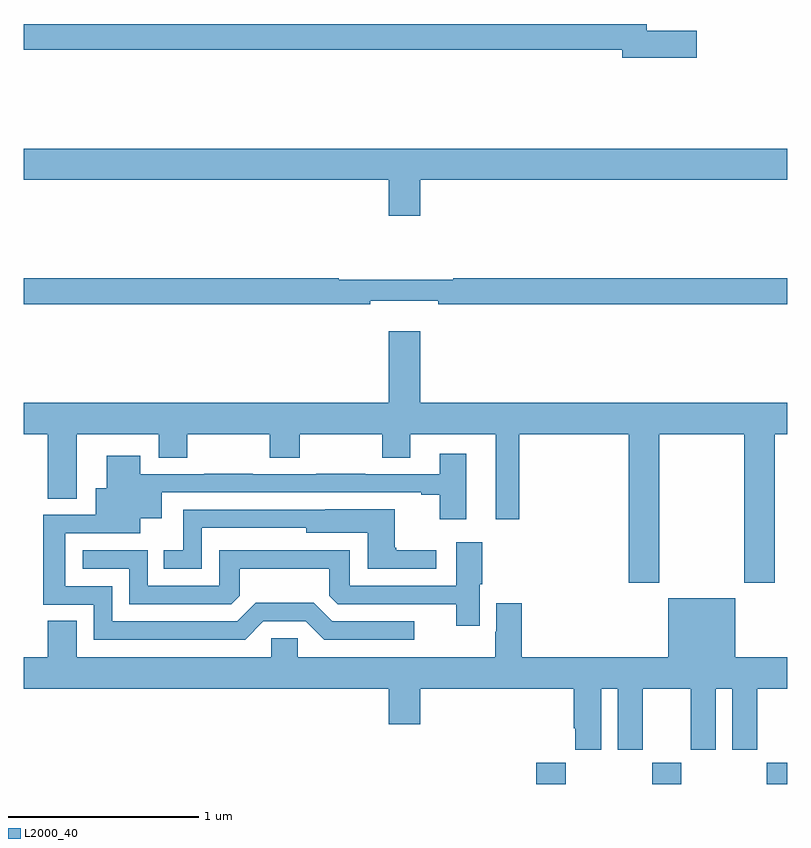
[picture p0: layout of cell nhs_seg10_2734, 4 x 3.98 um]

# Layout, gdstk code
import gdstk
lib = gdstk.Library(unit=1e-6, precision=1e-09)
def R(c, l, rs):  # rectangles x0, y0, x1, y1
    for r in rs: c.add(gdstk.rectangle(r[:2], r[2:], *l))
def P(c, l, *ps):  # polygons
    for p in ps: c.add(gdstk.Polygon(p, *l))
L2000_40 = (2000, 40)

nhs_seg10_2734 = lib.new_cell('nhs_seg10_2734')
R(nhs_seg10_2734, L2000_40, [(261.686,1282.5,261.839,1282.612), (262.293,1282.5,262.443,1282.612), (262.893,1282.5,263,1282.612)])
P(nhs_seg10_2734, L2000_40, [(262.525,1286.444),(262.264,1286.444),(262.264,1286.48),(259,1286.48),(259,1286.344),(262.136,1286.344),(262.136,1286.302),(262.525,1286.302)],
  [(261.076,1285.664),(263,1285.664),(263,1285.828),(259,1285.828),(259,1285.664),(260.912,1285.664),(260.912,1285.476),(261.076,1285.476)],
  [(260.816,1285.031),(261.172,1285.031),(261.172,1285.012),(263,1285.012),(263,1285.148),(261.25,1285.148),(261.25,1285.141),(260.65,1285.141),(260.65,1285.148),(259,1285.148),(259,1285.012),(260.816,1285.012)],
  [(262.329,1284.332),(262.774,1284.332),(262.774,1283.553),(262.934,1283.553),(262.934,1284.332),(263,1284.332),(263,1284.496),(261.076,1284.496),(261.076,1284.871),(260.912,1284.871),(260.912,1284.496),(259,1284.496),(259,1284.332),(259.127,1284.332),(259.127,1283.995),(259.279,1283.995),(259.279,1284.332),(259.709,1284.332),(259.709,1284.208),(259.857,1284.208),(259.857,1284.332),(260.29,1284.332),(260.29,1284.208),(260.445,1284.208),(260.445,1284.332),(260.878,1284.332),(260.878,1284.208),(261.025,1284.208),(261.025,1284.332),(261.473,1284.332),(261.473,1283.886),(261.595,1283.886),(261.595,1284.332),(262.169,1284.332),(262.169,1283.553),(262.329,1283.553)],
  [(260.256,1283.352),(260.478,1283.352),(260.574,1283.256),(261.046,1283.256),(261.046,1283.352),(260.616,1283.352),(260.519,1283.45),(260.216,1283.45),(260.118,1283.352),(259.464,1283.352),(259.464,1283.535),(259.218,1283.535),(259.218,1283.814),(259.612,1283.814),(259.612,1283.891),(259.723,1283.891),(259.723,1284.027),(261.083,1284.027),(261.083,1284.015),(261.179,1284.015),(261.179,1283.886),(261.319,1283.886),(261.319,1284.229),(261.179,1284.229),(261.179,1284.123),(260.789,1284.123),(260.789,1284.125),(260.533,1284.125),(260.533,1284.123),(260.201,1284.123),(260.201,1284.125),(259.945,1284.125),(259.945,1284.123),(259.612,1284.123),(259.612,1284.22),(259.436,1284.22),(259.436,1284.049),(259.379,1284.049),(259.379,1283.91),(259.102,1283.91),(259.102,1283.439),(259.368,1283.439),(259.368,1283.256),(260.16,1283.256)],
  [(259.932,1283.841),(260.481,1283.841),(260.481,1283.816),(260.801,1283.816),(260.801,1283.628),(261.16,1283.628),(261.16,1283.725),(260.952,1283.725),(260.952,1283.737),(260.944,1283.737),(260.944,1283.938),(260.581,1283.938),(260.581,1283.937),(259.835,1283.937),(259.835,1283.725),(259.735,1283.725),(259.735,1283.628),(259.932,1283.628)],
  [(261.388,1283.545),(261.401,1283.545),(261.401,1283.767),(261.266,1283.767),(261.266,1283.538),(260.709,1283.538),(260.709,1283.724),(260.025,1283.724),(260.025,1283.538),(259.65,1283.538),(259.65,1283.724),(259.311,1283.724),(259.311,1283.628),(259.554,1283.628),(259.554,1283.442),(260.088,1283.442),(260.133,1283.487),(260.133,1283.627),(260.601,1283.627),(260.601,1283.487),(260.646,1283.442),(261.266,1283.442),(261.266,1283.328),(261.388,1283.328)],
  [(262.024,1283),(262.112,1283),(262.112,1282.68),(262.242,1282.68),(262.242,1282.792),(262.243,1282.792),(262.243,1283),(262.493,1283),(262.493,1282.792),(262.494,1282.792),(262.494,1282.68),(262.624,1282.68),(262.624,1283),(262.712,1283),(262.712,1282.68),(262.842,1282.68),(262.842,1282.792),(262.843,1282.792),(262.843,1283),(263,1283),(263,1283.164),(262.726,1283.164),(262.726,1283.473),(262.376,1283.473),(262.376,1283.164),(261.608,1283.164),(261.608,1283.446),(261.476,1283.446),(261.476,1283.297),(261.469,1283.297),(261.469,1283.164),(260.436,1283.164),(260.436,1283.262),(260.298,1283.262),(260.298,1283.164),(259.279,1283.164),(259.279,1283.354),(259.127,1283.354),(259.127,1283.164),(259,1283.164),(259,1283),(260.912,1283),(260.912,1282.812),(261.076,1282.812),(261.076,1283),(261.881,1283),(261.881,1282.792),(261.89,1282.792),(261.89,1282.68),(262.024,1282.68)])

lib.write_gds('nhs_seg10_2734.gds')
